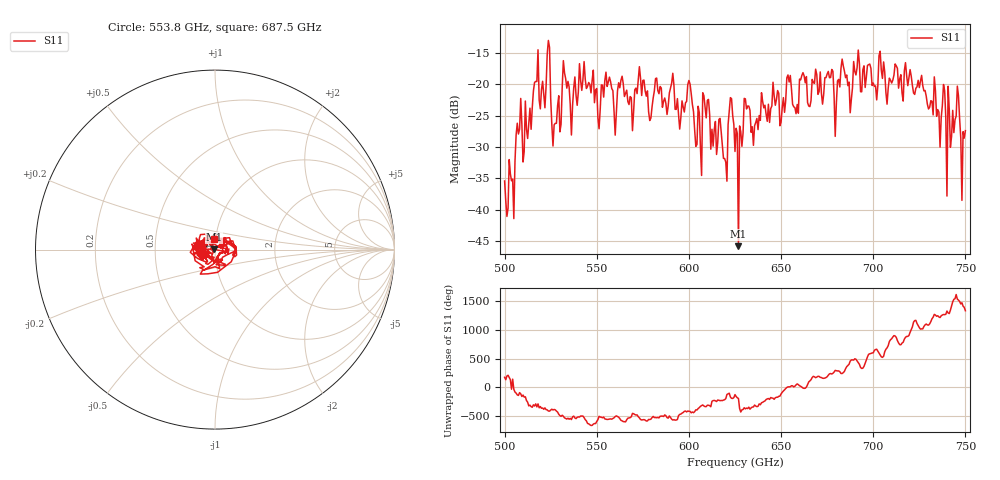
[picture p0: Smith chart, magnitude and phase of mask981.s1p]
!Created with skrf (http://scikit-rf.org).
# GHz S MA R 50.0
!freq magS11 angS11
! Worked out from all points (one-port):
!   401 points, 500 GHz to 750 GHz, reference 50 ohm
!   lowest |S11| = -45.8 dB at 626.9 GHz (marker M1), VSWR 1.01, Z = 49.5 + j0.133 ohm
!   |S11| at or under -10 dB: start of sweep to end of sweep
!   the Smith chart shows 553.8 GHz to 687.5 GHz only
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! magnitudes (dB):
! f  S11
! 500 GHz  -35.4
! 516.9 GHz  -19.5
! 520.6 GHz  -19.5
! 523.8 GHz  -13.0
! 526.9 GHz  -26.4
! 531.2 GHz  -20.5
! 560 GHz  -28.1
! 562.5 GHz  -20.5
! 579.4 GHz  -25.4
! 590.6 GHz  -19.8
! 593.8 GHz  -22.3
! 600.6 GHz  -20.0
! 605.6 GHz  -24.5
! 608.8 GHz  -23.6
! 619.4 GHz  -31.8
! 622.5 GHz  -22.1
! 625 GHz  -30.7
! 626.9 GHz  -45.8
! 631.2 GHz  -23.9
! 635 GHz  -29.7
! 656.2 GHz  -23.2
! 676.9 GHz  -18.9
! 680 GHz  -23.0
! 683.8 GHz  -17.1
! 687.5 GHz  -24.5
! 690.6 GHz  -18.5
! 718.8 GHz  -20.2
! 750 GHz  -27.4
